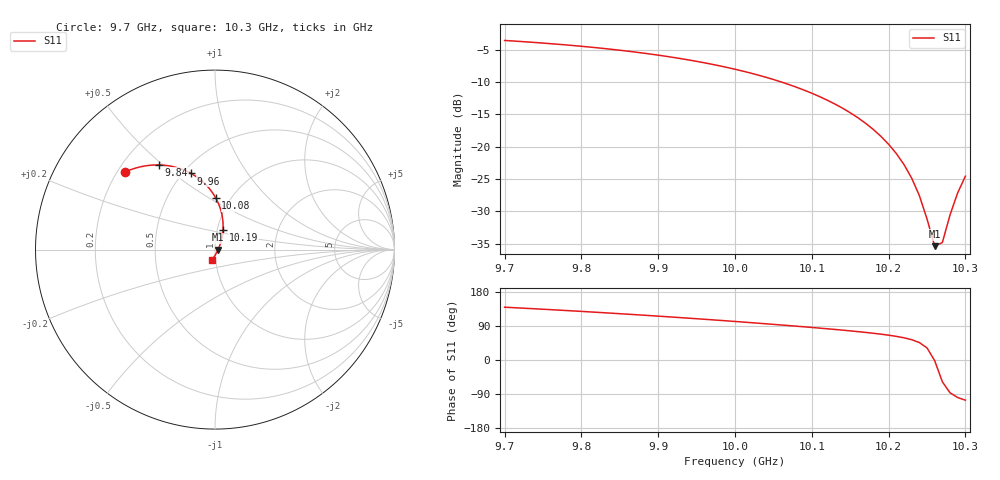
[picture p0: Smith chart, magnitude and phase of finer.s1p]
! yapnr rf: antenna-x10, footprint re-simulated (refine 3)
! spec sha256 610baf4a0fb2ba4ef1c8cfcd4b0ca20bdc87be27183a6f686c22b10d0e099fe1
! 1 ports renormalized to 50 ohm, e^(+jwt) convention
# GHz S RI R 50
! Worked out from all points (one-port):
!   63 points, 9.7 GHz to 10.3 GHz, reference 50 ohm
!   lowest |S11| = -35.4 dB at 10.26 GHz (marker M1), VSWR 1.03, Z = 51.7 - j0.053 ohm
!   |S11| at or under -10 dB: 10.06 GHz to end of sweep
!   S11 on the Smith chart (normalised r, x): 9.7 GHz: 0.23, +0.35; 9.84 GHz: 0.35, +0.49; 9.96 GHz: 0.55, +0.58; 10.08 GHz: 0.85, +0.54; 10.19 GHz: 1.07, +0.24; 10.3 GHz: 0.96, -0.11
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9.7  -0.5022 0.4319
9.74  -0.4519 0.4512
9.78  -0.3979 0.4647
9.84  -0.3113 0.4717
9.85  -0.2965 0.4711
9.89  -0.2364 0.4628
9.93  -0.1769 0.4448
9.96  -0.1339 0.4245
10  -0.0804 0.3884
10.04  -0.0337 0.3425
10.08  0.00391 0.288
10.1  0.0186 0.2581
10.12  0.0302 0.2268
10.15  0.0415 0.178
10.17  0.0448 0.1448
10.18  0.0452 0.1281
10.19  0.0447 0.1115
10.2  0.0433 0.0949
10.21  0.041 0.0784
10.22  0.0379 0.0621
10.23  0.0339 0.046
10.24  0.0291 0.0302
10.25  0.0234 0.0146
10.26  0.017 -0.000512
10.27  0.00975 -0.0153
10.28  0.00178 -0.0296
10.29  -0.00692 -0.0434
10.3  -0.0163 -0.0568
